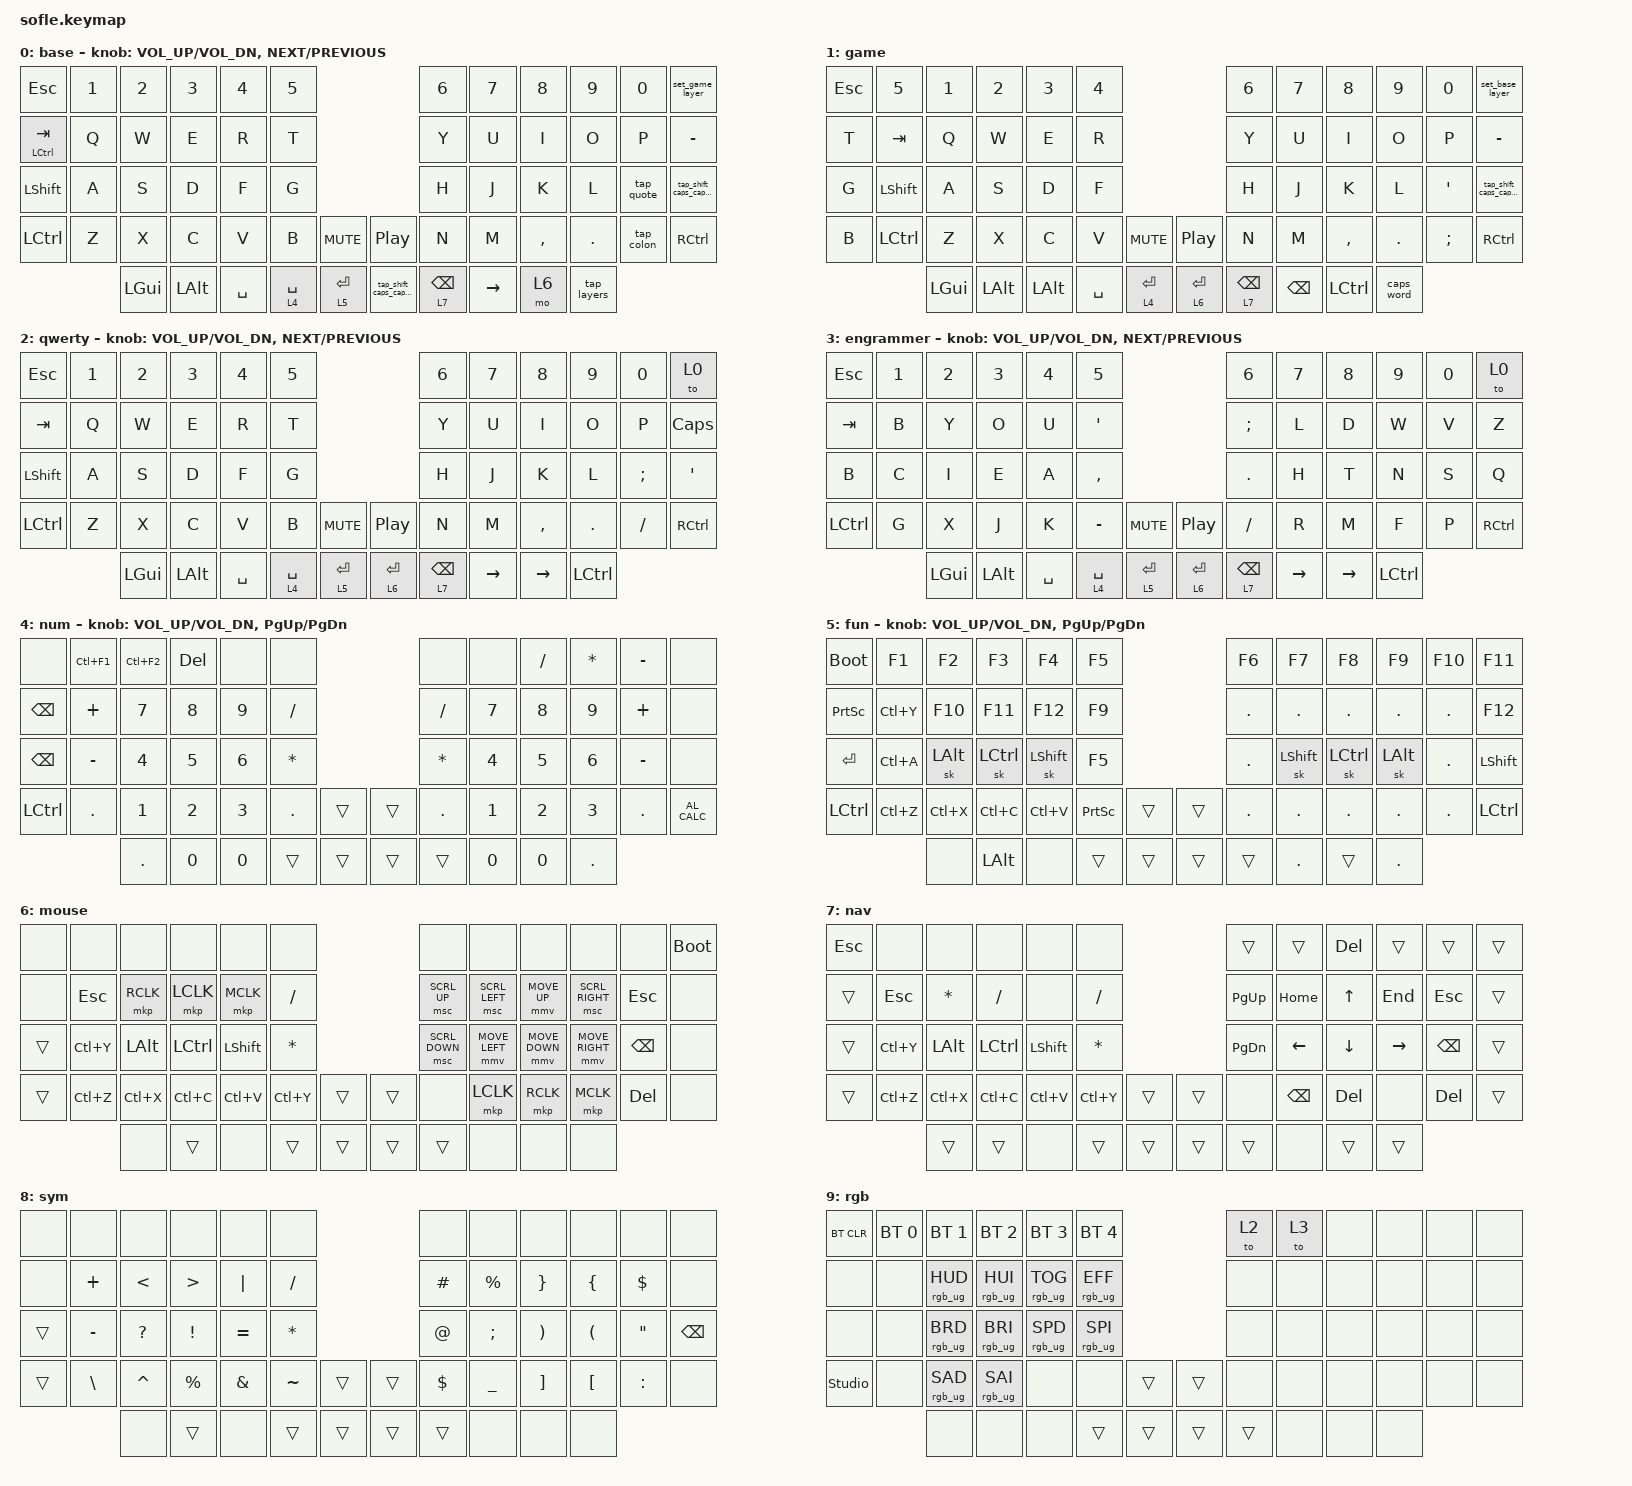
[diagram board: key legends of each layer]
//
// Copyright (c) 2024 The ZMK Contributors
//
// SPDX-License-Identifier: MIT

#include <behaviors.dtsi>
#include <dt-bindings/zmk/bt.h>
#include <dt-bindings/zmk/keys.h>
#include <dt-bindings/zmk/pointing.h>
#include <dt-bindings/zmk/rgb.h>

#

#define BASE 0
#define NUM 1
#define NAV 2
#define MOUS 3
#define SYM 4
#define RGB 5
#define GAME 6
#define FUN 7

&sk { quick-release; };

/ {
    // Activate ADJUST layer by pressing raise and lower

    conditional_layers {
        compatible = "zmk,conditional-layers";

        rgb_layer_2 {
            if-layers = <5 6>;
            then-layer = <9>;
        };

        sym_layer_2 {
            if-layers = <4 7>;
            then-layer = <8>;
        };
    };

    macros {
        set_game_layer: set_game_layer {
            compatible = "zmk,behavior-macro";
            #binding-cells = <0>;
            bindings = <&to 1 &rgb_ug RGB_COLOR_HSB(310,100,20)>;
            label = "SET_GAME_LAYER";
        };

        set_base_layer: set_base_layer {
            compatible = "zmk,behavior-macro";
            #binding-cells = <0>;
            bindings = <&to 0 &rgb_ug RGB_COLOR_HSB(210,100,20)>;
            label = "SET_BASE_LAYER";
        };
    };

    combos {
        compatible = "zmk,combos";

        sym_tog {
            bindings = <&tog 8>;
            key-positions = <52 57>;
            layers = <0 8>;
            timeout-ms = <200>;
        };
    };

    behaviors {
        hrm_left: hrm_left {
            compatible = "zmk,behavior-hold-tap";
            label = "HRM_LEFT";
            bindings = <&kp>, <&kp>;

            #binding-cells = <2>;
            hold-trigger-on-release;
            flavor = "tap-unless-interrupted";
            tapping-term-ms = <200>;
            quick-tap-ms = <200>;
            require-prior-idle-ms = <100>;
            hold-trigger-key-positions = <6 7 8 9 10 11 18 19 20 21 22 23 30 31 32 33 34 35 43 44 45 46 47 48 49 55 56 57 58 59>;
        };

        hrm_right: hrm_right {
            compatible = "zmk,behavior-hold-tap";
            label = "HRM_RIGHT";
            bindings = <&kp>, <&kp>;

            #binding-cells = <2>;
            hold-trigger-on-release;
            flavor = "tap-unless-interrupted";
            tapping-term-ms = <200>;
            quick-tap-ms = <200>;
            require-prior-idle-ms = <100>;
            hold-trigger-key-positions = <0 1 2 3 4 5 12 13 14 15 16 17 24 25 26 27 28 29 36 37 38 39 40 41 42 50 51 52 53 54>;
        };

        taptap: taptap {
            compatible = "zmk,behavior-tap-dance";
            label = "TAPTAP";
            #binding-cells = <0>;
            bindings = <&kp LSHIFT>, <&kp CAPS>;

            tapping-term-ms = <400>;
        };

        tap_shift_caps_capsword: tap_shift_caps_capsword {
            compatible = "zmk,behavior-tap-dance";
            label = "TAP_SHIFT_CAPS_CAPSWORD";
            #binding-cells = <0>;
            bindings = <&sk LEFT_SHIFT>, <&kp CAPSLOCK>, <&caps_word>;

            tapping-term-ms = <400>;
        };

        tap_layers: tap_layers {
            compatible = "zmk,behavior-tap-dance";
            label = "TAP_LAYERS";
            #binding-cells = <0>;
            bindings = <&to 4>, <&to 5>, <&to 0>;
        };

        tap_123: tap_123 {
            compatible = "zmk,behavior-tap-dance";
            label = "TAP_123";
            #binding-cells = <0>;
            bindings = <&sk N1>, <&kp N2>, <&sk N3>;

            tapping-term-ms = <400>;
        };

        tap_colon: tap_colon {
            compatible = "zmk,behavior-tap-dance";
            label = "TAP_COLON";
            #binding-cells = <0>;
            bindings = <&kp SEMICOLON>, <&kp COLON>;

            tapping-term-ms = <300>;
        };

        tap_quote: tap_quote {
            compatible = "zmk,behavior-tap-dance";
            label = "TAP_QUOTE";
            #binding-cells = <0>;
            bindings = <&kp SINGLE_QUOTE>, <&kp DOUBLE_QUOTES>;

            tapping-term-ms = <300>;
        };
    };

    keymap {
        compatible = "zmk,keymap";

        base_layer {
            display-name = "base";
            bindings = <
&kp ESC               &kp N1  &kp N2    &kp N3    &kp N4     &kp N5                                                &kp N6           &kp N7     &kp N8     &kp N9       &kp N0      &set_game_layer
&mt LEFT_CONTROL TAB  &kp Q   &kp W     &kp E     &kp R      &kp T                                                 &kp Y            &kp U      &kp I      &kp O        &kp P       &kp MINUS
&kp LEFT_SHIFT        &kp A   &kp S     &kp D     &kp F      &kp G                                                 &kp H            &kp J      &kp K      &kp L        &tap_quote  &tap_shift_caps_capsword
&kp LCTRL             &kp Z   &kp X     &kp C     &kp V      &kp B        &kp C_MUTE     &kp C_PP                  &kp N            &kp M      &kp COMMA  &kp DOT      &tap_colon  &kp RIGHT_CONTROL
                              &kp LGUI  &kp LALT  &kp SPACE  &lt 4 SPACE  &lt 5 ENTER    &tap_shift_caps_capsword  &lt 7 BACKSPACE  &kp RIGHT  &mo 6      &tap_layers
            >;

            sensor-bindings =
                <&inc_dec_kp C_VOL_UP C_VOL_DN>,
                <&inc_dec_kp C_NEXT C_PREVIOUS>;
        };

        game_layer {
            display-name = "game";
            bindings = <
&kp ESC  &kp N5     &kp N1    &kp N2    &kp N3        &kp N4                                 &kp N6           &kp N7         &kp N8            &kp N9      &kp N0          &set_base_layer
&kp T    &kp TAB    &kp Q     &kp W     &kp E         &kp R                                  &kp Y            &kp U          &kp I             &kp O       &kp P           &kp MINUS
&kp G    &kp LSHFT  &kp A     &kp S     &kp D         &kp F                                  &kp H            &kp J          &kp K             &kp L       &kp APOSTROPHE  &tap_shift_caps_capsword
&kp B    &kp LCTRL  &kp Z     &kp X     &kp C         &kp V      &kp C_MUTE     &kp C_PP     &kp N            &kp M          &kp COMMA         &kp DOT     &kp SEMICOLON   &kp RIGHT_CONTROL
                    &kp LGUI  &kp LALT  &kp LEFT_ALT  &kp SPACE  &lt 4 ENTER    &lt 6 ENTER  &lt 7 BACKSPACE  &kp BACKSPACE  &kp LEFT_CONTROL  &caps_word
            >;
        };

        qwerty {
            display-name = "qwerty";
            bindings = <
&kp ESC    &kp N1  &kp N2    &kp N3    &kp N4     &kp N5                                   &kp N6           &kp N7     &kp N8     &kp N9            &kp N0    &to 0
&kp TAB    &kp Q   &kp W     &kp E     &kp R      &kp T                                    &kp Y            &kp U      &kp I      &kp O             &kp P     &kp CAPS
&kp LSHFT  &kp A   &kp S     &kp D     &kp F      &kp G                                    &kp H            &kp J      &kp K      &kp L             &kp SEMI  &kp APOS
&kp LCTRL  &kp Z   &kp X     &kp C     &kp V      &kp B        &kp C_MUTE     &kp C_PP     &kp N            &kp M      &kp COMMA  &kp DOT           &kp FSLH  &kp RIGHT_CONTROL
                   &kp LGUI  &kp LALT  &kp SPACE  &lt 4 SPACE  &lt 5 ENTER    &lt 6 ENTER  &lt 7 BACKSPACE  &kp RIGHT  &kp RIGHT  &kp LEFT_CONTROL
            >;

            sensor-bindings =
                <&inc_dec_kp C_VOL_UP C_VOL_DN>,
                <&inc_dec_kp C_NEXT C_PREVIOUS>;

            label = "qwerty";
        };

        engrammer {
            display-name = "engrammer";
            bindings = <
&kp ESC    &kp N1  &kp N2    &kp N3    &kp N4     &kp N5                                   &kp N6           &kp N7     &kp N8     &kp N9            &kp N0  &to 0
&kp TAB    &kp B   &kp Y     &kp O     &kp U      &kp SQT                                  &kp SEMI         &kp L      &kp D      &kp W             &kp V   &kp Z
&kp B      &kp C   &kp I     &kp E     &kp A      &kp COMMA                                &kp DOT          &kp H      &kp T      &kp N             &kp S   &kp Q
&kp LCTRL  &kp G   &kp X     &kp J     &kp K      &kp MINUS    &kp C_MUTE     &kp C_PP     &kp FSLH         &kp R      &kp M      &kp F             &kp P   &kp RIGHT_CONTROL
                   &kp LGUI  &kp LALT  &kp SPACE  &lt 4 SPACE  &lt 5 ENTER    &lt 6 ENTER  &lt 7 BACKSPACE  &kp RIGHT  &kp RIGHT  &kp LEFT_CONTROL
            >;

            sensor-bindings =
                <&inc_dec_kp C_VOL_UP C_VOL_DN>,
                <&inc_dec_kp C_NEXT C_PREVIOUS>;

            label = "eng";
        };

        num_layer {
            display-name = "num";
            bindings = <
&none          &kp LC(F1)  &kp LC(F2)  &kp DEL  &none   &none                       &none     &none   &kp FSLH  &kp STAR  &kp MINUS  &none
&kp BACKSPACE  &kp PLUS    &kp N7      &kp N8   &kp N9  &kp FSLH                    &kp FSLH  &kp N7  &kp N8    &kp N9    &kp PLUS   &none
&kp BACKSPACE  &kp MINUS   &kp N4      &kp N5   &kp N6  &kp STAR                    &kp STAR  &kp N4  &kp N5    &kp N6    &kp MINUS  &none
&kp LCTRL      &kp DOT     &kp N1      &kp N2   &kp N3  &kp DOT   &trans    &trans  &kp DOT   &kp N1  &kp N2    &kp N3    &kp DOT    &kp C_AL_CALC
                           &kp DOT     &kp N0   &kp N0  &trans    &trans    &trans  &trans    &kp N0  &kp N0    &kp DOT
            >;

            sensor-bindings = <&inc_dec_kp C_VOL_UP C_VOL_DN &inc_dec_kp PG_UP PG_DN>;
        };

        fun_layer {
            display-name = "fun";
            bindings = <
&bootloader      &kp F1     &kp F2        &kp F3            &kp F4          &kp F5                             &kp F6   &kp F7     &kp F8     &kp F9    &kp F10  &kp F11
&kp PRINTSCREEN  &kp LC(Y)  &kp F10       &kp F11           &kp F12         &kp F9                             &kp DOT  &kp DOT    &kp DOT    &kp DOT   &kp DOT  &kp F12
&kp RET          &kp LC(A)  &sk LEFT_ALT  &sk LEFT_CONTROL  &sk LEFT_SHIFT  &kp F5                             &kp DOT  &sk LSHFT  &sk LCTRL  &sk LALT  &kp DOT  &kp LSHFT
&kp LCTRL        &kp LC(Z)  &kp LC(X)     &kp LC(C)         &kp LC(V)       &kp PRINTSCREEN  &trans    &trans  &kp DOT  &kp DOT    &kp DOT    &kp DOT   &kp DOT  &kp LCTRL
                            &none         &kp LALT          &none           &trans           &trans    &trans  &trans   &kp DOT    &trans     &kp DOT
            >;

            sensor-bindings =
                <&inc_dec_kp C_VOL_UP C_VOL_DN>,
                <&inc_dec_kp PG_UP PG_DN>;
        };

        mouse_layer {
            display-name = "mouse";
            bindings = <
&none   &none      &none      &none      &none      &none                        &none           &none           &none           &none            &none          &bootloader
&none   &kp ESC    &mkp RCLK  &mkp LCLK  &mkp MCLK  &kp FSLH                     &msc SCRL_UP    &msc SCRL_LEFT  &mmv MOVE_UP    &msc SCRL_RIGHT  &kp ESC        &none
&trans  &kp LC(Y)  &kp LALT   &kp LCTRL  &kp LSHFT  &kp STAR                     &msc SCRL_DOWN  &mmv MOVE_LEFT  &mmv MOVE_DOWN  &mmv MOVE_RIGHT  &kp BACKSPACE  &none
&trans  &kp LC(Z)  &kp LC(X)  &kp LC(C)  &kp LC(V)  &kp LC(Y)  &trans    &trans  &none           &mkp LCLK       &mkp RCLK       &mkp MCLK        &kp DELETE     &none
                   &none      &trans     &none      &trans     &trans    &trans  &trans          &none           &none           &none
            >;
        };

        nav_layer {
            display-name = "nav";
            bindings = <
&kp ESC  &none      &none         &none      &none      &none                        &trans     &trans         &kp DELETE  &trans     &trans         &trans
&trans   &kp ESC    &kp ASTERISK  &kp SLASH  &none      &kp FSLH                     &kp PG_UP  &kp HOME       &kp UP      &kp END    &kp ESC        &trans
&trans   &kp LC(Y)  &kp LALT      &kp LCTRL  &kp LSHFT  &kp STAR                     &kp PG_DN  &kp LEFT       &kp DOWN    &kp RIGHT  &kp BACKSPACE  &trans
&trans   &kp LC(Z)  &kp LC(X)     &kp LC(C)  &kp LC(V)  &kp LC(Y)  &trans    &trans  &none      &kp BACKSPACE  &kp DELETE  &none      &kp DELETE     &trans
                    &trans        &trans     &none      &trans     &trans    &trans  &trans     &none          &trans      &trans
            >;
        };

        sym_layer {
            display-name = "sym";
            bindings = <
&none   &none          &none          &none             &none          &none                        &none       &none          &none                  &none                 &none              &none
&none   &kp PLUS       &kp LESS_THAN  &kp GREATER_THAN  &kp PIPE       &kp FSLH                     &kp HASH    &kp PERCENT    &kp RIGHT_BRACE        &kp LEFT_BRACE        &kp DOLLAR         &none
&trans  &kp MINUS      &kp QUESTION   &kp EXCL          &kp EQUAL      &kp STAR                     &kp AT      &kp SEMICOLON  &kp RIGHT_PARENTHESIS  &kp LEFT_PARENTHESIS  &kp DOUBLE_QUOTES  &kp BACKSPACE
&trans  &kp BACKSLASH  &kp CARET      &kp PERCENT       &kp AMPERSAND  &kp TILDE  &trans    &trans  &kp DOLLAR  &kp UNDER      &kp RIGHT_BRACKET      &kp LEFT_BRACKET      &kp COLON          &none
                       &none          &trans            &none          &trans     &trans    &trans  &trans      &none          &none                  &none
            >;
        };

        rgb_layer {
            display-name = "rgb";
            bindings = <
&bt BT_CLR      &bt BT_SEL 0  &bt BT_SEL 1     &bt BT_SEL 2     &bt BT_SEL 3     &bt BT_SEL 4                       &to 2   &to 3  &none  &none  &none  &none
&none           &none         &rgb_ug RGB_HUD  &rgb_ug RGB_HUI  &rgb_ug RGB_TOG  &rgb_ug RGB_EFF                    &none   &none  &none  &none  &none  &none
&none           &none         &rgb_ug RGB_BRD  &rgb_ug RGB_BRI  &rgb_ug RGB_SPD  &rgb_ug RGB_SPI                    &none   &none  &none  &none  &none  &none
&studio_unlock  &none         &rgb_ug RGB_SAD  &rgb_ug RGB_SAI  &none            &none            &trans    &trans  &none   &none  &none  &none  &none  &none
                              &none            &none            &none            &trans           &trans    &trans  &trans  &none  &none  &none
            >;
        };
    };
};
